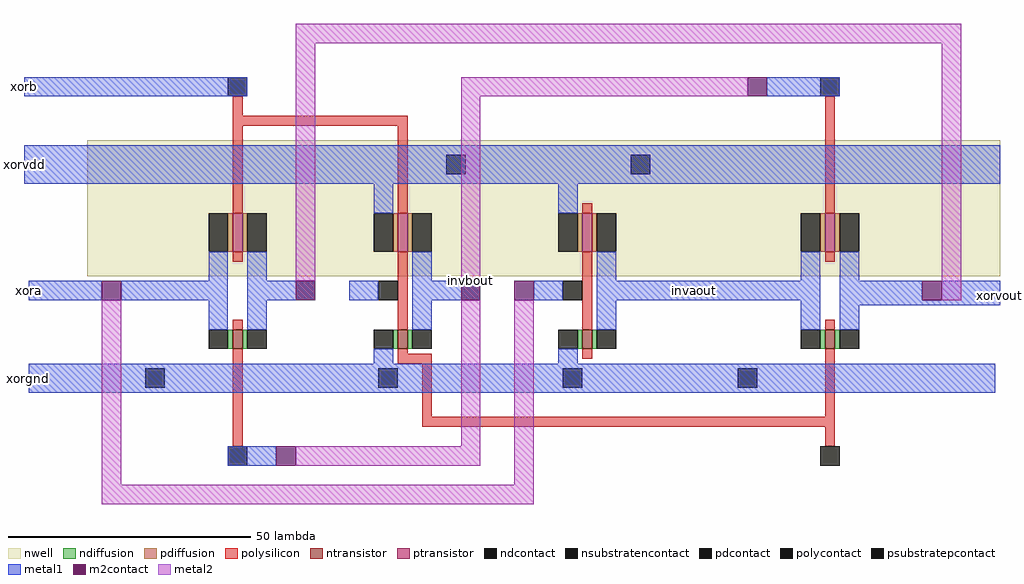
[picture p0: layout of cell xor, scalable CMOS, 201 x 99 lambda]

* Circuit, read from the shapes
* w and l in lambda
.subckt xor xora xorb xorvout xorvdd xorgnd
M1 xorvout invbout xora xorgnd nfet w=4 l=2
M2 invbout xorb xorgnd xorgnd nfet w=4 l=2
M3 invaout xora xorgnd xorgnd nfet w=4 l=2
M4 xorvout xorb invaout xorgnd nfet w=4 l=2
M5 xorvout xorb xora xorvdd pfet w=8 l=2
M6 invbout xorb xorvdd xorvdd pfet w=8 l=2
M7 invaout xora xorvdd xorvdd pfet w=8 l=2
M8 xorvout invbout invaout xorvdd pfet w=8 l=2
.ends

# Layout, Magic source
magic
tech scmos
<< nwell >>
rect -54 24 134 52
<< polysilicon >>
rect -24 55 12 57
rect 10 39 12 55
rect 10 6 17 8
rect 15 -5 17 6
rect 15 -7 100 -5
<< metal1 >>
rect -67 61 -21 65
rect 86 61 101 65
rect -67 43 134 51
rect -66 19 -51 23
rect -47 19 -41 23
rect 38 19 42 23
rect 55 19 88 23
rect 105 19 118 23
rect 122 19 134 23
rect 105 18 134 19
rect -66 0 133 6
rect -25 -15 -15 -11
<< metal2 >>
rect -11 72 126 76
rect -11 23 -7 72
rect 23 61 82 65
rect 23 23 27 61
rect -51 -19 -47 19
rect 23 -11 27 19
rect -11 -15 27 -11
rect 122 19 126 72
rect 34 -19 38 19
rect -51 -23 38 -19
<< m2contact >>
rect 82 61 86 65
rect -51 19 -47 23
rect -11 19 -7 23
rect 23 19 27 23
rect 34 19 38 23
rect 118 19 122 23
rect -15 -15 -11 -11
use transgate  transgate_1
transform 1 0 94 0 1 9
box -16 -24 21 56
use invertor  invertor_1
transform 1 0 44 0 1 9
box -6 -9 21 43
use transgate  transgate_0
transform 1 0 -28 0 1 9
box -16 -24 21 56
use invertor  invertor_0
transform 1 0 6 0 1 9
box -6 -9 21 43
<< labels >>
rlabel metal1 -67 63 -67 63 3 xorb
port 2 e
rlabel metal1 -66 21 -66 21 3 xora
port 1 e
rlabel metal1 -67 47 -67 47 3 xorvdd
port 4 e
rlabel metal1 -66 3 -66 3 3 xorgnd
port 5 e
rlabel metal1 134 20 134 20 7 xorvout
port 3 w
rlabel m2contact 25 23 25 23 1 invbout
rlabel metal1 71 21 71 21 1 invaout
<< end >>

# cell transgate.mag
magic
tech scmos
<< nwell >>
rect -16 15 21 43
<< polysilicon >>
rect 4 28 6 52
rect 4 18 6 20
rect 4 4 6 6
rect 4 -20 6 0
<< ndiffusion >>
rect 3 0 4 4
rect 6 0 7 4
<< pdiffusion >>
rect 3 20 4 28
rect 6 20 7 28
<< metal1 >>
rect -16 34 21 41
rect -1 14 3 20
rect -16 10 3 14
rect -1 4 3 10
rect 7 14 11 20
rect 7 10 21 14
rect 7 4 11 10
rect -16 -4 21 -3
rect -16 -8 -14 -4
rect -10 -8 21 -4
rect -16 -9 21 -8
<< ntransistor >>
rect 4 0 6 4
<< ptransistor >>
rect 4 20 6 28
<< polycontact >>
rect 3 52 7 56
rect 3 -24 7 -20
<< ndcontact >>
rect -1 0 3 4
rect 7 0 11 4
<< pdcontact >>
rect -1 20 3 28
rect 7 20 11 28
<< psubstratepcontact >>
rect -14 -8 -10 -4
<< labels >>
rlabel polycontact 5 56 5 56 5 trans_clkp
port 1 s
rlabel metal1 -16 12 -16 12 3 trans_vin
port 2 e
rlabel polycontact 5 -24 5 -24 1 trans_clkn
port 3 n
rlabel metal1 21 12 21 12 7 trans_vout
port 4 w
rlabel metal1 -16 -6 -16 -6 3 trans_gnd
port 6 e
rlabel metal1 -16 37 -16 37 3 trans_vdd
port 5 e
<< end >>

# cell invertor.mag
magic
tech scmos
<< nwell >>
rect -6 15 21 43
<< polysilicon >>
rect 4 28 6 30
rect 4 4 6 20
rect 4 -2 6 0
<< ndiffusion >>
rect 3 0 4 4
rect 6 0 7 4
<< pdiffusion >>
rect 3 20 4 28
rect 6 20 7 28
<< metal1 >>
rect -6 40 21 41
rect -6 36 14 40
rect 18 36 21 40
rect -6 34 21 36
rect -1 28 3 34
rect 7 14 11 20
rect -6 10 0 14
rect 7 10 21 14
rect 7 4 11 10
rect -1 -3 3 0
rect -6 -4 21 -3
rect -6 -8 0 -4
rect 4 -8 21 -4
rect -6 -9 21 -8
<< ntransistor >>
rect 4 0 6 4
<< ptransistor >>
rect 4 20 6 28
<< polycontact >>
rect 0 10 4 14
<< ndcontact >>
rect -1 0 3 4
rect 7 0 11 4
<< pdcontact >>
rect -1 20 3 28
rect 7 20 11 28
<< psubstratepcontact >>
rect 0 -8 4 -4
<< nsubstratencontact >>
rect 14 36 18 40
<< labels >>
rlabel metal1 -6 38 -6 38 4 inv_vdd
port 1 se
rlabel metal1 -6 12 -6 12 3 inv_vin
port 2 e
rlabel metal1 21 12 21 12 7 inv_vout
port 3 w
rlabel metal1 -6 -6 -6 -6 2 inv_gnd
port 4 ne
<< end >>
